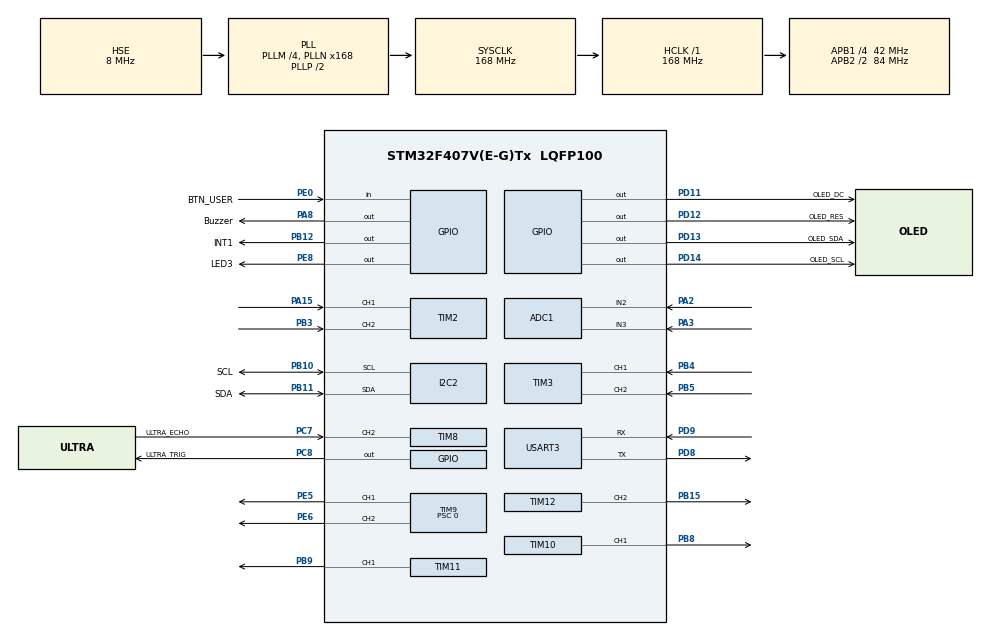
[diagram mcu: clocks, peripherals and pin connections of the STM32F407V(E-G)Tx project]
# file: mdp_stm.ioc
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ADC1.Channel-0\#ChannelRegularConversion=ADC_CHANNEL_2
ADC1.Channel-1\#ChannelRegularConversion=ADC_CHANNEL_3
ADC1.ContinuousConvMode=ENABLE
ADC1.DMAContinuousRequests=ENABLE
ADC1.NbrOfConversion=2
ADC1.NbrOfConversionFlag=1
ADC1.Rank-0\#ChannelRegularConversion=1
ADC1.Rank-1\#ChannelRegularConversion=2
ADC1.SamplingTime-0\#ChannelRegularConversion=ADC_SAMPLETIME_84CYCLES
ADC1.SamplingTime-1\#ChannelRegularConversion=ADC_SAMPLETIME_84CYCLES
ADC1.ScanConvMode=ENABLE
ADC1.master=1
Dma.ADC1.0.Direction=DMA_PERIPH_TO_MEMORY
Dma.ADC1.0.FIFOMode=DMA_FIFOMODE_DISABLE
Dma.ADC1.0.Instance=DMA2_Stream0
Dma.ADC1.0.MemDataAlignment=DMA_MDATAALIGN_HALFWORD
Dma.ADC1.0.MemInc=DMA_MINC_ENABLE
Dma.ADC1.0.Mode=DMA_CIRCULAR
Dma.ADC1.0.PeriphDataAlignment=DMA_PDATAALIGN_HALFWORD
Dma.ADC1.0.PeriphInc=DMA_PINC_DISABLE
Dma.ADC1.0.Priority=DMA_PRIORITY_LOW
Dma.Request0=ADC1
Mcu.Family=STM32F4
Mcu.Name=STM32F407V(E-G)Tx
Mcu.Package=LQFP100
NVIC.DMA2_Stream0_IRQn=true\:0\:0\:false\:false\:true\:false\:true\:true
NVIC.PriorityGroup=NVIC_PRIORITYGROUP_4
NVIC.TIM6_DAC_IRQn=true\:5\:0\:false\:false\:true\:true\:true\:true
NVIC.TIM8_CC_IRQn=true\:0\:0\:false\:false\:true\:true\:true\:true
NVIC.USART3_IRQn=true\:4\:0\:false\:false\:true\:true\:true\:true
PA13.Mode=Serial_Wire
PA13.Signal=SYS_JTMS-SWDIO
PA14.Mode=Serial_Wire
PA14.Signal=SYS_JTCK-SWCLK
PA15.Signal=S_TIM2_CH1_ETR
PA2.Signal=ADCx_IN2
PA3.Signal=ADCx_IN3
PA8.GPIO_Label=Buzzer
PA8.Signal=GPIO_Output
PB10.GPIO_Label=SCL
PB10.Mode=I2C
PB10.Signal=I2C2_SCL
PB11.GPIO_Label=SDA
PB11.Mode=I2C
PB11.Signal=I2C2_SDA
PB12.GPIO_Label=INT1
PB12.Signal=GPIO_Output
PB15.Signal=S_TIM12_CH2
PB3.Signal=S_TIM2_CH2
PB4.Signal=S_TIM3_CH1
PB5.Signal=S_TIM3_CH2
PB8.GPIO_PuPd=GPIO_PULLUP
PB8.GPIO_Speed=GPIO_SPEED_FREQ_VERY_HIGH
PB8.Signal=S_TIM10_CH1
PB9.GPIO_PuPd=GPIO_PULLUP
PB9.GPIO_Speed=GPIO_SPEED_FREQ_VERY_HIGH
PB9.Signal=S_TIM11_CH1
PC7.GPIO_Label=ULTRA_ECHO
PC7.GPIO_ModeDefaultPP=GPIO_MODE_AF_PP
PC7.GPIO_PuPd=GPIO_NOPULL
PC7.GPIO_Speed=GPIO_SPEED_FREQ_LOW
PC7.Signal=S_TIM8_CH2
PC8.GPIO_Label=ULTRA_TRIG
PC8.Signal=GPIO_Output
PD11.GPIO_Label=OLED_DC
PD11.Signal=GPIO_Output
PD12.GPIO_Label=OLED_RES
PD12.Signal=GPIO_Output
PD13.GPIO_Label=OLED_SDA
PD13.Signal=GPIO_Output
PD14.GPIO_Label=OLED_SCL
PD14.Signal=GPIO_Output
PD8.Mode=Asynchronous
PD8.Signal=USART3_TX
PD9.Mode=Asynchronous
PD9.Signal=USART3_RX
PE0.GPIO_Label=BTN_USER
PE0.GPIO_PuPd=GPIO_PULLUP
PE0.Signal=GPIO_Input
PE5.GPIO_PuPd=GPIO_PULLUP
PE5.GPIO_Speed=GPIO_SPEED_FREQ_VERY_HIGH
PE5.Signal=S_TIM9_CH1
PE6.GPIO_PuPd=GPIO_PULLUP
PE6.GPIO_Speed=GPIO_SPEED_FREQ_VERY_HIGH
PE6.Signal=S_TIM9_CH2
PE8.GPIO_Label=LED3
PE8.Signal=GPIO_Output
PH0-OSC_IN.Mode=HSE-External-Oscillator
PH0-OSC_IN.Signal=RCC_OSC_IN
PH1-OSC_OUT.Mode=HSE-External-Oscillator
PH1-OSC_OUT.Signal=RCC_OSC_OUT
ProjectManager.HeapSize=0x200
ProjectManager.StackSize=0x400
ProjectManager.TargetToolchain=STM32CubeIDE
RCC.48MHZClocksFreq_Value=84000000
RCC.AHBFreq_Value=168000000
RCC.APB1CLKDivider=RCC_HCLK_DIV4
RCC.APB1Freq_Value=42000000
RCC.APB1TimFreq_Value=84000000
RCC.APB2CLKDivider=RCC_HCLK_DIV2
RCC.APB2Freq_Value=84000000
RCC.APB2TimFreq_Value=168000000
RCC.CortexFreq_Value=168000000
RCC.HCLKFreq_Value=168000000
RCC.HSE_VALUE=8000000
RCC.HSI_VALUE=16000000
RCC.LSE_VALUE=32768
RCC.PLLM=4
RCC.PLLN=168
RCC.PLLSourceVirtual=RCC_PLLSOURCE_HSE
RCC.SYSCLKFreq_VALUE=168000000
RCC.SYSCLKSource=RCC_SYSCLKSOURCE_PLLCLK
RCC.VCOOutputFreq_Value=336000000
SH.ADCx_IN2.0=ADC1_IN2,IN2
SH.ADCx_IN3.0=ADC1_IN3,IN3
SH.S_TIM10_CH1.0=TIM10_CH1,PWM Generation1 CH1
SH.S_TIM11_CH1.0=TIM11_CH1,PWM Generation1 CH1
SH.S_TIM12_CH2.0=TIM12_CH2,PWM Generation2 CH2
SH.S_TIM2_CH1_ETR.0=TIM2_CH1,Encoder_Interface
SH.S_TIM2_CH2.0=TIM2_CH2,Encoder_Interface
SH.S_TIM3_CH1.0=TIM3_CH1,Encoder_Interface
SH.S_TIM3_CH2.0=TIM3_CH2,Encoder_Interface
SH.S_TIM8_CH2.0=TIM8_CH2,Input_Capture2_from_TI2
SH.S_TIM9_CH1.0=TIM9_CH1,PWM Generation1 CH1
SH.S_TIM9_CH2.0=TIM9_CH2,PWM Generation2 CH2
TIM1.AutoReloadPreload=TIM_AUTORELOAD_PRELOAD_ENABLE
TIM1.Period=8399
TIM10.AutoReloadPreload=TIM_AUTORELOAD_PRELOAD_ENABLE
TIM10.Channel=TIM_CHANNEL_1
TIM10.Period=16799
TIM10.Prescaler=0
TIM11.AutoReloadPreload=TIM_AUTORELOAD_PRELOAD_ENABLE
TIM11.Channel=TIM_CHANNEL_1
TIM11.Period=16799
TIM11.Prescaler=0
TIM12.Channel-PWM\ Generation2\ CH2=TIM_CHANNEL_2
TIM12.Period=19999
TIM12.Prescaler=83
TIM2.AutoReloadPreload=TIM_AUTORELOAD_PRELOAD_ENABLE
TIM2.EncoderMode=TIM_ENCODERMODE_TI12
TIM2.IC1Filter=10
TIM2.IC2Filter=10
TIM3.EncoderMode=TIM_ENCODERMODE_TI12
TIM3.IC1Filter=10
TIM3.IC2Filter=10
TIM6.Period=99
TIM6.Prescaler=8399
TIM8.Channel-Input_Capture2_from_TI2=TIM_CHANNEL_2
TIM8.ICPolarity_CH2=TIM_INPUTCHANNELPOLARITY_RISING
TIM8.Prescaler=168-1
TIM9.Channel-PWM\ Generation1\ CH1=TIM_CHANNEL_1
TIM9.Channel-PWM\ Generation2\ CH2=TIM_CHANNEL_2
TIM9.Period=16799
TIM9.Prescaler=0
USART3.VirtualMode=VM_ASYNC
VP_TIM10_VS_ClockSourceINT.Mode=Enable_Timer
VP_TIM11_VS_ClockSourceINT.Mode=Enable_Timer
VP_TIM12_VS_ClockSourceINT.Mode=Internal
VP_TIM1_VS_ClockSourceINT.Mode=Internal
VP_TIM6_VS_ClockSourceINT.Mode=Enable_Timer
VP_TIM8_VS_ClockSourceINT.Mode=Internal
VP_TIM9_VS_ClockSourceINT.Mode=Internal
board=custom

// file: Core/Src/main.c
/* USER CODE BEGIN Header */
/**
  ******************************************************************************
  * @file           : main.c
  * @brief          : Main program body
  ******************************************************************************
  * @attention
  *
  * Copyright (c) 2026 STMicroelectronics.
  * All rights reserved.
  *
  * This software is licensed under terms that can be found in the LICENSE file
  * in the root directory of this software component.
  * If no LICENSE file comes with this software, it is provided AS-IS.
  *
  ******************************************************************************
  */
/* USER CODE END Header */
#include "main.h"
#include "adc.h"
#include "dma.h"
#include "i2c.h"
#include "tim.h"
#include "usart.h"
#include "gpio.h"

/* USER CODE BEGIN Includes */
#include "motors.h"
#include "encoders.h"
#include "servo.h"
#include "control.h"
#include "command.h"
#include "calib.h"
#include "oled.h"
#include "icm20948.h"
#include "obstacle_nav.h"
#include "sensors.h"
#include "turn_test.h"
#include "cal_programs.h"
#include <stdio.h>
/* USER CODE END Includes */

/* USER CODE BEGIN PD */

/* Set to 1 to run the open-loop motor/encoder sign check at boot instead of
   accepting commands. Do this once, with the wheels OFF THE GROUND, before
   you trust the closed loop. Set back to 0 afterwards. */
#define SELFTEST 0

/* SW1 calibration programs. Pick one with CAL_PROGRAM and flash. Hold SW1 for
   2 s and let go to zero the gyro, hands off, then tap SW1 to step through
   it. Results go to the OLED and to USART3. Details at the top of
   cal_programs.c / turn_test.c.

     CAL_OFF        normal runs: a tap shows the IR sensors. Long-press in
                    the prep time: the START that follows within 5 minutes
                    keeps that zero instead of taking ~2 s of the run for one.
     CAL_STRAIGHT   FW/BW 10 cm and 100 cm, 5 of each: where every move stops,
                    and how much it turns and drifts sideways on the way.
                    Sets BRAKE_LEAD_COUNTS and the straight steering trim
                    (STEER_KI, reverse_bias) in control.c.
     CAL_ODOMETER   push the car by hand along a tape: live distance, wheel
                    counts and heading; a tap zeroes it. Sets COUNTS_PER_REV.
     CAL_TURN_FR    one kind of 30 degree turn, 5 runs, then one summary page:
     CAL_TURN_FL    radius and angle, and how much to change that turn's
     CAL_TURN_BR    braking lead. Sets TURN_RADIUS_*_MM in calib.h and the
     CAL_TURN_BL    small-turn braking leads in control.c. TT_ANGLE in
                    turn_test.c sets the angle.
     CAL_TURN       the same for all four kinds in one go (20 runs).
     CAL_SIX_FR     WRT4's check: six identical 30 degree turns of that kind
     CAL_SIX_FL     in a row, which should leave the car facing exactly back.
     CAL_SIX_BR     Half the gap between floor marks at the start and end is
     CAL_SIX_BL     the radius.
     CAL_SEQ        FL030, FR030, FW100 back to back, as the Pi sends them,
                    5 runs: each turn's angle, and how tilted the straight
                    after them comes out. Square the car to a line first.
     CAL_TRACE      one FW100 watched from inside the control loop: each
                    wheel's speed against its target, heading change and
                    steering phase by phase, the crawl. Tap for 3 pages.
     CAL_TASK2      the whole Task 2 with no Pi and no image recognition. The
                    arrows come from CAL_T2_ARROW_OBS1 / _OBS2 below. A tap
                    waits 0.8 s, zeroes the gyro hands-off (as the Pi's GC
                    does, so a long press in the last 5 minutes is kept
                    instead), then runs; SW1 again stops the car. The OLED
                    shows the run time at the end. No long press needed first.
     CAL_IR         the side IRs, nothing drives: a board at 10-70 cm on each
                    side in turn (fits the IR_*_M/_B/_K in calib.h), then the
                    car in the carpark (IR_TO_CENTRE_MM), then a live view.
                    Results and #define lines on USART3.

   A tap drives the car in every program except CAL_OFF, CAL_ODOMETER
   (which free-wheels the motors instead) and CAL_IR, so set CAL_PROGRAM back
   to CAL_OFF before a real run. */
#define CAL_PROGRAM      CAL_OFF
/* Kush (09-Oct): 1 = run the calibration programs (and any FW/BW/FL/... from
   the Pi) on the Task 2 speed profile instead of the Task 1 one, so CAL_TRACE,
   CAL_STRAIGHT and CAL_TURN (TT_ANGLE 90) measure what task_2() actually does.
   START2 always uses the Task 2 profile whatever this says. Back to 0 for a
   Task 1 run. */
#define CAL_USE_TASK2_PROFILE  1

/* Kush (09-Oct): the arrows CAL_TASK2 acts on instead of scanning, one per
   obstacle: T2_ARROW_LEFT or T2_ARROW_RIGHT (the side the car goes round it).
   Only used when CAL_PROGRAM is CAL_TASK2; START2 from the Pi always scans. */
#define CAL_T2_ARROW_OBS1      T2_ARROW_RIGHT
#define CAL_T2_ARROW_OBS2      T2_ARROW_RIGHT

#if (CAL_T2_ARROW_OBS1 != T2_ARROW_LEFT && CAL_T2_ARROW_OBS1 != T2_ARROW_RIGHT) || \
    (CAL_T2_ARROW_OBS2 != T2_ARROW_LEFT && CAL_T2_ARROW_OBS2 != T2_ARROW_RIGHT)
#error "CAL_T2_ARROW_OBS1 and CAL_T2_ARROW_OBS2 must each be T2_ARROW_LEFT or T2_ARROW_RIGHT"
#endif

/* USER CODE END PD */

/* USER CODE BEGIN PV */

/* Latched at the very top of main() so you can tell a brown-out reset from a
   normal power-up after the motors have been running. Inspect in the debugger:
   bit 31 LPWRRSTF, 30 WWDGRSTF, 29 IWDGRSTF, 28 SFTRSTF, 27 PORRSTF,
   26 PINRSTF, 25 BORRSTF. BORRSTF or PORRSTF appearing after a motor stall
   means the supply is collapsing, not that the firmware is wrong. */
volatile uint32_t reset_flags;
int calibrated = 0;

/* USER CODE END PV */

void SystemClock_Config(void);
/* USER CODE BEGIN PFP */
#if SELFTEST
static void selftest(void);
#endif
/* USER CODE END PFP */

/* USER CODE BEGIN 0 */
void testMaxSpeed(){
	/* 1. Put the robot on the actual floor you will compete on */
	command_send("Measuring MAX speed in 3s...\r\n");
	HAL_Delay(3000);

	/* 2. Command maximum possible PWM to both motors */
	motor_left(16799);
	motor_right(16799);
	HAL_Delay(500); /* Allow 500 ms for momentum to peak */

	/* 3. Measure encoder ticks over exactly 100 ms (which is 10 control ticks) */
	int32_t start_l = enc_left_total;
	int32_t start_r = enc_right_total;
	HAL_Delay(100);
	int32_t end_l = enc_left_total;
	int32_t end_r = enc_right_total;

	/* 4. Stop motors */
	motor_left(0);
	motor_right(0);

	/* 5. Calculate average ticks per 10 ms tick */
	int32_t max_ticks_l = (end_l - start_l) / 10;
	int32_t max_ticks_r = (end_r - start_r) / 10;

	char buf[64];
	snprintf(buf, sizeof(buf), "Max L: %ld, Max R: %ld ticks/10ms\r\n", max_ticks_l, max_ticks_r);
	OLED_Clear();
	OLED_ShowString(0,0,(const uint8_t* ) buf);
	OLED_Refresh_Gram();
	command_send(buf);
}
void testSequence(){
	OLED_Clear();
	OLED_ShowString(10,30,(const uint8_t* )"Running Test Sequence");
	OLED_Refresh_Gram();
	move_straight_mm(800); // 80cm forward
	HAL_Delay(500);
	move_turn_deg(1, 1, 90); // turn left forward 90
	HAL_Delay(500);
	move_turn_deg(0, 0, 90); // turn right back 90
	HAL_Delay(500);
	move_straight_mm(800); //80cm forward
	HAL_Delay(500);
	move_turn_deg(0, 1, 90); // turn right forward 90
	HAL_Delay(500);
	move_turn_deg(1, 0, 90); // turn left back 90
	//HAL_Delay(500);
	//move_pivot_deg(1, 90);
	//HAL_Delay(500);
	//move_pivot_deg(0, 90);
//	HAL_Delay(500);
//	move_turn_deg(0, 1, 180); // turn right forward 180
//	HAL_Delay(500);
//	move_turn_deg(1, 1, 180); // turn left forward 180
}

/* The selected calibration program's ready screen: at boot, and again after
   the gyro bias is locked. Nothing for CAL_OFF. */
static void cal_ready_screen(void)
{
#if CAL_PROGRAM == CAL_TURN
    turn_test_show_idle(TT_ALL);
#elif CAL_IS_TURN_ONE(CAL_PROGRAM)
    turn_test_show_idle(CAL_TURN_KIND(CAL_PROGRAM));
#elif CAL_IS_SIX(CAL_PROGRAM)
    cal_six_show_idle(CAL_TURN_KIND(CAL_PROGRAM));
#elif CAL_PROGRAM == CAL_STRAIGHT
    cal_straight_show_idle();
#elif CAL_PROGRAM == CAL_ODOMETER
    cal_odometer_start();
#elif CAL_PROGRAM == CAL_SEQ
    cal_seq_show_idle();
#elif CAL_PROGRAM == CAL_TRACE
    cal_trace_show_idle();
#elif CAL_PROGRAM == CAL_TASK2
    cal_task2_show_idle(CAL_T2_ARROW_OBS1, CAL_T2_ARROW_OBS2);
#elif CAL_PROGRAM == CAL_IR
    cal_ir_show_idle();
#endif
}
/* USER CODE END 0 */

int main(void)
{

  /* MCU Configuration--------------------------------------------------------*/

  /* Reset of all peripherals, Initializes the Flash interface and the Systick. */
  HAL_Init();

  /* USER CODE BEGIN Init */
  reset_flags = RCC->CSR;
  RCC->CSR |= RCC_CSR_RMVF;          /* clear so the next reset reads cleanly */
  /* USER CODE END Init */

  /* Configure the system clock */
  SystemClock_Config();

  /* Initialize all configured peripherals */
  MX_GPIO_Init();
  MX_DMA_Init();
  MX_TIM1_Init();
  MX_TIM6_Init();
  MX_TIM8_Init();
  MX_USART3_UART_Init();
  MX_TIM2_Init();
  MX_TIM3_Init();
  MX_TIM9_Init();
  MX_TIM12_Init();
  MX_TIM10_Init();
  MX_TIM11_Init();
  MX_I2C2_Init();
  MX_ADC1_Init();
  /* USER CODE BEGIN 2 */
  motors_init();
  encoders_init();
  servo_init();
  control_init();
#if CAL_USE_TASK2_PROFILE
  motion_set_profile(&MOTION_PROFILE_TASK2);
#endif
  command_init();
  OLED_Init();
  ir_sensors_init();
  icm20948_init(&hi2c2);
  HAL_TIM_Base_Start_IT(&htim6);       /* starts the 100 Hz control loop */
#if SELFTEST
  selftest();
#endif

  command_send("READY\r\n");
  cal_ready_screen();
  /* USER CODE END 2 */

  /* Infinite loop */
  while (1)
    {

      /* USER CODE BEGIN 3 */
      command_poll();
#if CAL_PROGRAM == CAL_ODOMETER
      cal_odometer_poll();   /* redraws the live reading every 200 ms */
#elif CAL_PROGRAM == CAL_IR
      cal_ir_poll();         /* the live view at the end, every 200 ms */
#endif
      /* --- User Button (SW1 / PE0) --- *
       * Debounced, and waits for release before acting. The original read the
       * pin bare and called straight into the display, so one press redrew the
       * screen hundreds of times; and with PE0 configured NOPULL the pin floated
       * when the button was open, so it also fired on noise. The pull-up is now
       * set in gpio.c and in the .ioc, and the press is confirmed here.       */
      if (HAL_GPIO_ReadPin(BTN_USER_GPIO_Port, BTN_USER_Pin) == GPIO_PIN_RESET)
      {
          HAL_Delay(30);                                   /* debounce         */
          if (HAL_GPIO_ReadPin(BTN_USER_GPIO_Port, BTN_USER_Pin) == GPIO_PIN_RESET)
          {
              uint32_t press_start_time = HAL_GetTick();
              uint8_t long_press_triggered = 0;

              /* Loop actively WHILE the button is held down */
              while (HAL_GPIO_ReadPin(BTN_USER_GPIO_Port, BTN_USER_Pin) == GPIO_PIN_RESET)
              {
                  /* Check if button has been held for 2 seconds (2000ms) */
                  if (!long_press_triggered && (HAL_GetTick() - press_start_time >= 2000u))
                  {
                      long_press_triggered = 1; /* Prevent multiple calibrations */

                      /* Kush (15-Oct): the zero now waits until SW1 is let go
                         (below), so no hand is on the car while it measures. */
                      OLED_Clear();
                      OLED_ShowString(0, 0,  (const uint8_t *)"GYRO ZERO");
                      OLED_ShowString(0, 20, (const uint8_t *)"let go of SW1");
                      OLED_ShowString(0, 30, (const uint8_t *)"and hands off");
                      OLED_Refresh_Gram();
                  }
                  HAL_Delay(10); /* Small delay to prevent starving the CPU */
              }

              /* Button has been released. Wait for a clean electrical release. */
              uint32_t high_since = HAL_GetTick();
              while (HAL_GetTick() - high_since < 60u)     /* confirmed release */
              {
                  if (HAL_GPIO_ReadPin(BTN_USER_GPIO_Port, BTN_USER_Pin) == GPIO_PIN_RESET)
                  {
                      high_since = HAL_GetTick();
                  }
                  HAL_Delay(2);
              }

              /* Kush (15-Oct): a long press zeroes the gyro once SW1 is let go,
                 with the same checks as the Pi's GC (command.c). It replaces
                 the zero that START used to take on the clock: the GC the Pi
                 sends before START2 keeps a SW1 zero from the last 5 minutes
                 (GC_KEEP_SW1_MS) instead of measuring again. The OLED says OK
                 or why not; a failed zero keeps the old one, so long-press
                 again. */
              if (long_press_triggered)
              {
                  command_send("\r\n[IMU] SW1 gyro zero, hands off\r\n");
                  HAL_Delay(500);                  /* the hand away from the car */
                  (void)command_gyro_zero_sw1();
#if CAL_PROGRAM != CAL_OFF
                  HAL_Delay(1500);                 /* time to read the result     */
                  cal_ready_screen();
#endif
              }

              /* If it was just a quick press (< 2 seconds), do the normal action */
              if (!long_press_triggered)
              {
#if CAL_PROGRAM == CAL_TURN
                  turn_test_step(TT_ALL);
#elif CAL_IS_TURN_ONE(CAL_PROGRAM)
                  turn_test_step(CAL_TURN_KIND(CAL_PROGRAM));
#elif CAL_IS_SIX(CAL_PROGRAM)
                  cal_six_step(CAL_TURN_KIND(CAL_PROGRAM));
#elif CAL_PROGRAM == CAL_STRAIGHT
                  cal_straight_step();
#elif CAL_PROGRAM == CAL_ODOMETER
                  cal_odometer_zero();
#elif CAL_PROGRAM == CAL_SEQ
                  cal_seq_step();
#elif CAL_PROGRAM == CAL_TRACE
                  cal_trace_step();
#elif CAL_PROGRAM == CAL_TASK2
                  cal_task2_step(CAL_T2_ARROW_OBS1, CAL_T2_ARROW_OBS2);
#elif CAL_PROGRAM == CAL_IR
                  cal_ir_step();
#else
                  display_both_sensors_oled();
#endif
                  //HAL_Delay(1000);
                  //task_2();
              }
          }
      }

      /* Heartbeat. If LED3 stops blinking the firmware has trapped -- most
         likely in Error_Handler(), which now blinks fast instead of dying
         silently, so the two are easy to tell apart. */
      static uint32_t last = 0;
      if (HAL_GetTick() - last >= 500u) {
          last = HAL_GetTick();
          HAL_GPIO_TogglePin(LED3_GPIO_Port, LED3_Pin);
      }
    }
  /* USER CODE END 3 */
}

void SystemClock_Config(void)
{
  RCC_OscInitTypeDef RCC_OscInitStruct = {0};
  RCC_ClkInitTypeDef RCC_ClkInitStruct = {0};

  /** Configure the main internal regulator output voltage
  */
  __HAL_RCC_PWR_CLK_ENABLE();
  __HAL_PWR_VOLTAGESCALING_CONFIG(PWR_REGULATOR_VOLTAGE_SCALE1);

  /** Initializes the RCC Oscillators according to the specified parameters
  * in the RCC_OscInitTypeDef structure.
  */
  RCC_OscInitStruct.OscillatorType = RCC_OSCILLATORTYPE_HSE;
  RCC_OscInitStruct.HSEState = RCC_HSE_ON;
  RCC_OscInitStruct.PLL.PLLState = RCC_PLL_ON;
  RCC_OscInitStruct.PLL.PLLSource = RCC_PLLSOURCE_HSE;
  RCC_OscInitStruct.PLL.PLLM = 4;
  RCC_OscInitStruct.PLL.PLLN = 168;
  RCC_OscInitStruct.PLL.PLLP = RCC_PLLP_DIV2;
  RCC_OscInitStruct.PLL.PLLQ = 4;
  if (HAL_RCC_OscConfig(&RCC_OscInitStruct) != HAL_OK)
  {
    Error_Handler();
  }

  /** Initializes the CPU, AHB and APB buses clocks
  */
  RCC_ClkInitStruct.ClockType = RCC_CLOCKTYPE_HCLK|RCC_CLOCKTYPE_SYSCLK
                              |RCC_CLOCKTYPE_PCLK1|RCC_CLOCKTYPE_PCLK2;
  RCC_ClkInitStruct.SYSCLKSource = RCC_SYSCLKSOURCE_PLLCLK;
  RCC_ClkInitStruct.AHBCLKDivider = RCC_SYSCLK_DIV1;
  RCC_ClkInitStruct.APB1CLKDivider = RCC_HCLK_DIV4;
  RCC_ClkInitStruct.APB2CLKDivider = RCC_HCLK_DIV2;

  if (HAL_RCC_ClockConfig(&RCC_ClkInitStruct, FLASH_LATENCY_5) != HAL_OK)
  {
    Error_Handler();
  }
}

/* USER CODE BEGIN 4 */

/**
  * @brief  TIM6 period-elapsed callback -- runs the 100 Hz control loop.
  *
  * This was the missing link: HAL_TIM_IRQHandler() calls this, and without
  * an override here it resolved to HAL's empty weak stub, so control_tick()
  * was never executed and encoders were never sampled.
  */
void HAL_TIM_PeriodElapsedCallback(TIM_HandleTypeDef *htim)
{
  if (htim->Instance == TIM6)
  {
    control_tick();
  }
}

#if SELFTEST
/**
  * @brief Open-loop check of motor direction and encoder sign.
  *
  * Run this with the wheels off the ground and a serial terminal on the
  * USB-C COM port at 115200 8N1. Every reported total should be POSITIVE.
  * If a total is negative, flip the matching INVERT_* in calib.h. If the
  * WRONG wheel's total moves, your TIM2/TIM3 encoder wiring is swapped.
  */
static void selftest(void)
{
  char buf[96];

  command_send("\r\nSELFTEST -- wheels OFF the ground\r\n");
  HAL_Delay(1500);

  /* ---- LEFT wheel, positive duty ---- */
  encoders_reset();
  for (int32_t d = 0; d <= 6000; d += 100) { motor_left(d); HAL_Delay(10); }
  HAL_Delay(700);
  motor_left(0);
  HAL_Delay(600);
  snprintf(buf, sizeof buf,
           "LEFT  +duty : enc_left=%ld  enc_right=%ld  (want left>0, right~0)\r\n",
           (long)enc_left_total, (long)enc_right_total);
  command_send(buf);
  HAL_Delay(800);

  /* ---- RIGHT wheel, positive duty ---- */
  encoders_reset();
  for (int32_t d = 0; d <= 6000; d += 100) { motor_right(d); HAL_Delay(10); }
  HAL_Delay(700);
  motor_right(0);
  HAL_Delay(600);
  snprintf(buf, sizeof buf,
           "RIGHT +duty : enc_left=%ld  enc_right=%ld  (want right>0, left~0)\r\n",
           (long)enc_left_total, (long)enc_right_total);
  command_send(buf);

  motors_coast();
  command_send("SELFTEST done -- set SELFTEST to 0 when the signs are right\r\n\r\n");
}
#endif

/* USER CODE END 4 */

void Error_Handler(void)
{
  /* USER CODE BEGIN Error_Handler_Debug */
  /* A silent while(1) here cost days of debugging: a failed clock init or a
     failed HAL_TIM_PWM_Start() looked identical to "the motors don't work".
     Kill the bridges first, then blink LED3 fast so a trap is unmistakable
     against the 1 Hz heartbeat in the main loop. */
  __disable_irq();

  /* Force the four bridge inputs low (coast) with direct register writes.
     Do NOT go via motors_coast() -- if this trap came from SystemClock_Config
     the timer handles are still zeroed and htim->Instance would be NULL. */
  __HAL_RCC_GPIOB_CLK_ENABLE();
  __HAL_RCC_GPIOE_CLK_ENABLE();

  GPIOB->MODER = (GPIOB->MODER & ~((3u << 16) | (3u << 18)))
                                | ((1u << 16) | (1u << 18));   /* PB8, PB9 out */
  GPIOB->BSRR  = (1u << (8 + 16)) | (1u << (9 + 16));          /* both low     */

  GPIOE->MODER = (GPIOE->MODER & ~((3u << 10) | (3u << 12)))
                                | ((1u << 10) | (1u << 12));   /* PE5, PE6 out */
  GPIOE->BSRR  = (1u << (5 + 16)) | (1u << (6 + 16));          /* both low     */

  GPIOE->MODER = (GPIOE->MODER & ~(3u << (8 * 2))) | (1u << (8 * 2));  /* LED3 */

  while (1)
  {
    GPIOE->ODR ^= (1u << 8);
    for (volatile uint32_t i = 0; i < 400000u; i++) { }
  }
  /* USER CODE END Error_Handler_Debug */
}
